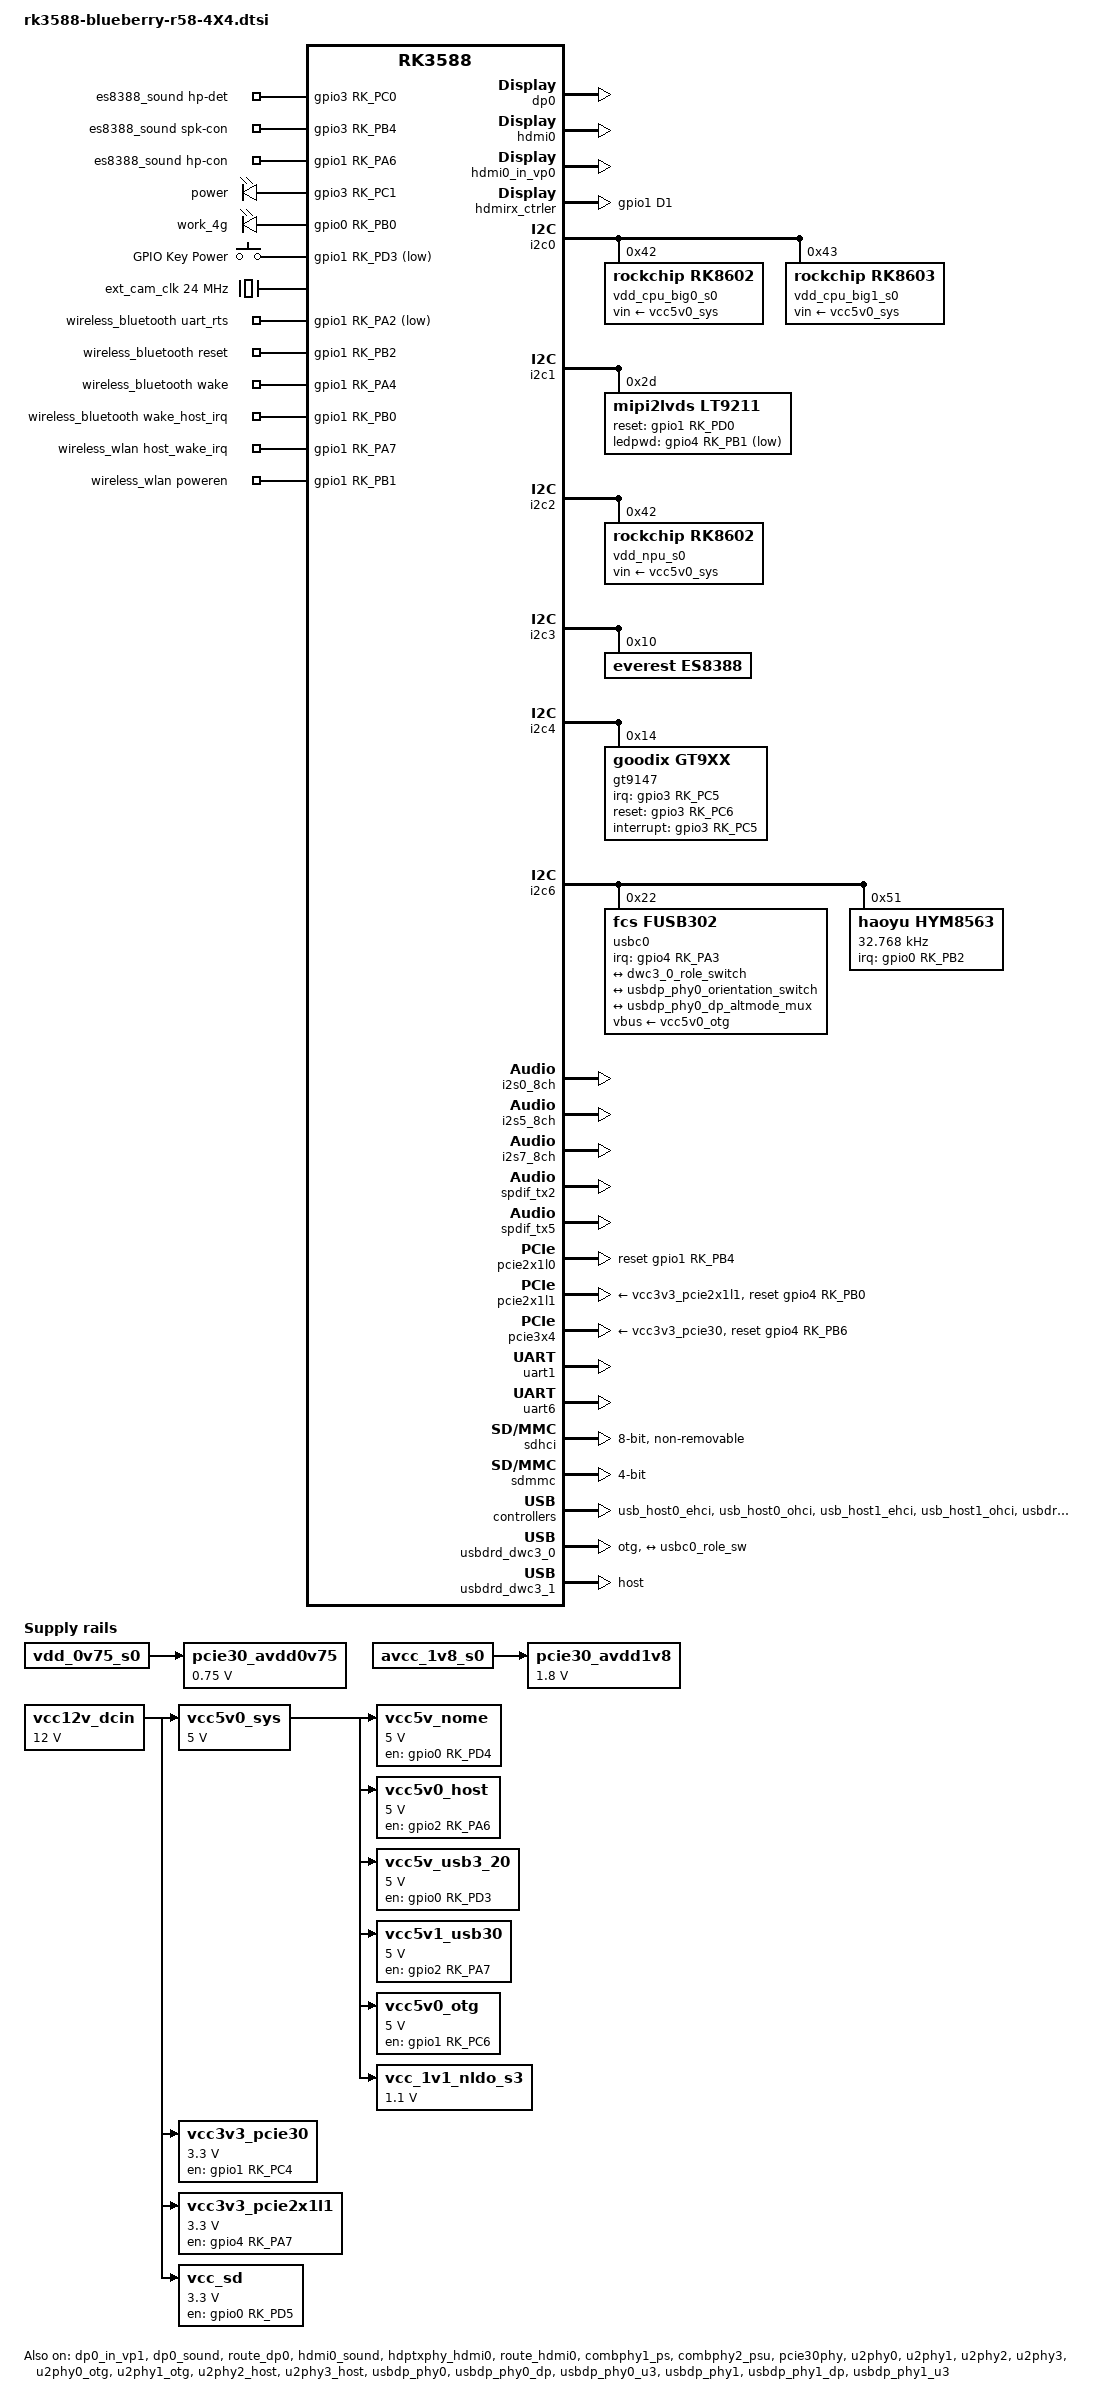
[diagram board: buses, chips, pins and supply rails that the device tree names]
// SPDX-License-Identifier: (GPL-2.0+ OR MIT)
/*
 * Copyright (c) 2021 Rockchip Electronics Co., Ltd.
 *
 */

#include "dt-bindings/usb/pd.h"
#include "rk3588.dtsi"
#include "rk3588-blueberry-r58-4X4-hugsun.dtsi"
#include "rk3588-rk806-single.dtsi"

/ {
	/* If hdmirx node is disabled, delete the reserved-memory node here. */
	reserved-memory {
		#address-cells = <2>;
		#size-cells = <2>;
		ranges;

		/* Reserve 256MB memory for hdmirx-controller@fdee0000 */
		cma {
			compatible = "shared-dma-pool";
			reusable;
			reg = <0x0 (256 * 0x100000) 0x0 (256 * 0x100000)>;
			linux,cma-default;
		};
	};

	hdmiin-sound {
		compatible = "rockchip,hdmi";
		rockchip,mclk-fs = <128>;
		rockchip,format = "i2s";
		rockchip,bitclock-master = <&hdmirx_ctrler>;
		rockchip,frame-master = <&hdmirx_ctrler>;
		rockchip,card-name = "rockchip,hdmiin";
		rockchip,cpu = <&i2s7_8ch>;
		rockchip,codec = <&hdmirx_ctrler 0>;
		rockchip,jack-det;
	};

	es8388_sound: es8388-sound {
		status = "okay";
		compatible = "rockchip,multicodecs-card";
		rockchip,card-name = "rockchip-es8388";
		hp-det-gpio = <&gpio3 RK_PC0 GPIO_ACTIVE_HIGH>;
		spk-con-gpio = <&gpio3 RK_PB4 GPIO_ACTIVE_HIGH>;
		hp-con-gpio = <&gpio1 RK_PA6 GPIO_ACTIVE_HIGH>;
		rockchip,format = "i2s";
		rockchip,mclk-fs = <256>;
		rockchip,cpu = <&i2s0_8ch>;
		rockchip,codec = <&es8388>;
		rockchip,audio-routing =
			"Headphone", "LOUT1",
			"Headphone", "ROUT1",
			"Speaker", "LOUT2",
			"Speaker", "ROUT2",
			"Headphone", "Headphone Power",
			"Headphone", "Headphone Power",
			"Speaker", "Speaker Power",
			"Speaker", "Speaker Power",
			"LINPUT1", "Main Mic",
			"LINPUT2", "Main Mic",
			"RINPUT1", "Headset Mic",
			"RINPUT2", "Headset Mic";
		pinctrl-names = "default";
		pinctrl-0 = <&hp_det>;
	};

	rk_headset: rk-headset {
		status = "disabled";
		compatible = "rockchip_headset";
		headset_gpio = <&gpio1 RK_PA6 GPIO_ACTIVE_HIGH>;
		//pinctrl-names = "default";
		//pinctrl-0 = <&hp_det>;
		io-channels = <&saradc 3>;
	};

	leds: leds {
		compatible = "gpio-leds";

		/*
		lt9211_bl: lt9211-bl {
			gpios = <&gpio2 RK_PB1 GPIO_ACTIVE_HIGH>;
			default-state = "on";
		};
		*/

		power_led: power-led { // rpardini: vendor called it "hdd-led" but it is actually the power-button led
			label = "power";
			gpios = <&gpio3 RK_PC1 GPIO_ACTIVE_HIGH>;
			linux,default-trigger = "heartbeat";
			default-state = "off";
		};

		work_4g: work-4g { // rpardini: not really anywhere
			gpios = <&gpio0 RK_PB0 GPIO_ACTIVE_HIGH>;
			default-state = "on";
		};
	};

	gpio_keys: gpio-keys {
		compatible = "gpio-keys";
		autorepeat;
		pinctrl-names = "default";
		pinctrl-0 = <&pwrbtn>;

		power {
			debounce-interval = <100>;
			gpios = <&gpio1 RK_PD3 GPIO_ACTIVE_LOW>;
			label = "GPIO Key Power";
			linux,code = <KEY_POWER>;
			wakeup-source;
		};
	};

	pcie30_avdd0v75: pcie30-avdd0v75 {
		compatible = "regulator-fixed";
		regulator-name = "pcie30_avdd0v75";
		regulator-boot-on;
		regulator-always-on;
		regulator-min-microvolt = <750000>;
		regulator-max-microvolt = <750000>;
		vin-supply = <&vdd_0v75_s0>;
	};

	pcie30_avdd1v8: pcie30-avdd1v8 {
		compatible = "regulator-fixed";
		regulator-name = "pcie30_avdd1v8";
		regulator-boot-on;
		regulator-always-on;
		regulator-min-microvolt = <1800000>;
		regulator-max-microvolt = <1800000>;
		vin-supply = <&avcc_1v8_s0>;
	};

	vcc12v_dcin: vcc12v-dcin {
		compatible = "regulator-fixed";
		regulator-name = "vcc12v_dcin";
		regulator-always-on;
		regulator-boot-on;
		regulator-min-microvolt = <12000000>;
		regulator-max-microvolt = <12000000>;
	};

	vcc5v0_sys: vcc5v0-sys {
		compatible = "regulator-fixed";
		regulator-name = "vcc5v0_sys";
		regulator-always-on;
		regulator-boot-on;
		regulator-min-microvolt = <5000000>;
		regulator-max-microvolt = <5000000>;
		vin-supply = <&vcc12v_dcin>;
	};

	vcc5v_nome: vcc5v0-nome-regulator {
		compatible = "regulator-fixed";
		regulator-name = "vcc5v0_host";
		regulator-boot-on;
		regulator-always-on;
		regulator-min-microvolt = <5000000>;
		regulator-max-microvolt = <5000000>;
		enable-active-high;
		gpio = <&gpio0 RK_PD4 GPIO_ACTIVE_HIGH>;  //LCD_PWR_EN
		vin-supply = <&vcc5v0_sys>;
		pinctrl-names = "default";
		pinctrl-0 = <&vcc5v0_nome_en>;
	};

	vcc5v0_host: vcc5v0-host-regulator {
		compatible = "regulator-fixed";
		regulator-name = "vcc5v0_host";
		regulator-boot-on;
		regulator-always-on;
		regulator-min-microvolt = <5000000>;
		regulator-max-microvolt = <5000000>;
		enable-active-high;
		gpio = <&gpio2 RK_PA6 GPIO_ACTIVE_HIGH>;  //USB_HOST_PWREN_H_GPIO2_A6
		vin-supply = <&vcc5v0_sys>;
		pinctrl-names = "default";
		pinctrl-0 = <&vcc5v0_host_en>;
	};


	vcc5v_usb3_20: vcc5v0-usb3_20-regulator {
		compatible = "regulator-fixed";
		regulator-name = "vcc5v0_host";
		regulator-boot-on;
		regulator-always-on;
		regulator-min-microvolt = <5000000>;
		regulator-max-microvolt = <5000000>;
		enable-active-high;
		gpio = <&gpio0 RK_PD3 GPIO_ACTIVE_HIGH>;  //USB_POWER_EN
		vin-supply = <&vcc5v0_sys>;
		pinctrl-names = "default";
		pinctrl-0 = <&vcc5v0_usb3_20_en>;
	};

	vcc5v1_usb30: vcc5v1-usb30-regulator {
		compatible = "regulator-fixed";
		regulator-name = "vcc5v0_host";
		regulator-boot-on;
		regulator-always-on;
		regulator-min-microvolt = <5000000>;
		regulator-max-microvolt = <5000000>;
		enable-active-high;
		gpio = <&gpio2 RK_PA7 GPIO_ACTIVE_HIGH>;  //USB_HOST_PWREN_H_GPIO2_A7
		vin-supply = <&vcc5v0_sys>;
		pinctrl-names = "default";
		pinctrl-0 = <&vcc5v1_usb30_en>;
	};

	vcc5v0_otg: vcc5v0-otg-regulator {
		compatible = "regulator-fixed";
		regulator-name = "vcc5v0_otg";
		regulator-min-microvolt = <5000000>;
		regulator-max-microvolt = <5000000>;
		enable-active-high;
		gpio = <&gpio1 RK_PC6 GPIO_ACTIVE_HIGH>;
		vin-supply = <&vcc5v0_sys>;
		pinctrl-names = "default";
		pinctrl-0 = <&vcc5v0_otg_en>;
	};

	vcc3v3_pcie30: vcc3v3-pcie30 {
		compatible = "regulator-fixed";
		regulator-name = "vcc3v3_pcie30";
		regulator-min-microvolt = <3300000>;
		regulator-max-microvolt = <3300000>;
		enable-active-high;
		pinctrl-names = "default";
		pinctrl-0 = <&vcc3v3_pcie30_en>;
		gpios = <&gpio1 RK_PC4 GPIO_ACTIVE_HIGH>;    //PCIE30x4_PWREN_H
		startup-delay-us = <10000>;
		vin-supply = <&vcc12v_dcin>;
	};

	vcc3v3_pcie2x1l1: vcc3v3-pcie2x1l1{
		compatible = "regulator-fixed";
		regulator-name = "vcc3v3_pcie2x1l1";
		regulator-min-microvolt = <3300000>;
		regulator-max-microvolt = <3300000>;
		enable-active-high;
		gpios = <&gpio4 RK_PA7 GPIO_ACTIVE_HIGH>;
		startup-delay-us = <10000>;
		vin-supply = <&vcc12v_dcin>;
	};

	vcc_sd: sd-regulator {
		compatible = "regulator-fixed";
		gpio = <&gpio0 RK_PD5 GPIO_ACTIVE_HIGH>;
		pinctrl-names = "default";
		pinctrl-0 = <&sdmmc_pwr>;
		regulator-always-on;
		regulator-boot-on;
		enable-active-high;
		regulator-name = "vcc_sd";
		regulator-min-microvolt = <3300000>;
		regulator-max-microvolt = <3300000>;
		startup-delay-us = <100000>;
		vin-supply = <&vcc12v_dcin>;
	};

	vcc_1v1_nldo_s3: vcc-1v1-nldo-s3 {
		compatible = "regulator-fixed";
		regulator-name = "vcc_1v1_nldo_s3";
		regulator-always-on;
		regulator-boot-on;
		regulator-min-microvolt = <1100000>;
		regulator-max-microvolt = <1100000>;
		vin-supply = <&vcc5v0_sys>;
	};

	ext_cam_clk: external-camera-clock {
		compatible = "fixed-clock";
		clock-frequency = <24000000>;
		clock-output-names = "CLK_CAMERA_24MHZ";
		#clock-cells = <0>;
	};

	wireless_bluetooth: wireless-bluetooth {
		compatible = "bluetooth-platdata";
		clocks = <&hym8563>;
		clock-names = "ext_clock";
		uart_rts_gpios = <&gpio1 RK_PA2 GPIO_ACTIVE_LOW>;
		pinctrl-names = "default", "rts_gpio";
		pinctrl-0 = <&uart6m1_rtsn>, <&bt_gpio>;
		pinctrl-1 = <&uart6_gpios>;
		BT,reset_gpio    = <&gpio1 RK_PB2 GPIO_ACTIVE_HIGH>;
		BT,wake_gpio     = <&gpio1 RK_PA4 GPIO_ACTIVE_HIGH>;
		BT,wake_host_irq = <&gpio1 RK_PB0 GPIO_ACTIVE_HIGH>;
		status = "okay";
	};

	wireless_wlan: wireless-wlan {
		compatible = "wlan-platdata";
		wifi_chip_type = "ap6275p";
		pinctrl-names = "default";
		pinctrl-0 = <&wifi_host_wake_irq>, <&wifi_poweren_gpio>;
		WIFI,host_wake_irq = <&gpio1 RK_PA7 GPIO_ACTIVE_HIGH>;
		WIFI,poweren_gpio = <&gpio1 RK_PB1 GPIO_ACTIVE_HIGH>;
		status = "okay";
	};
};


&dp0 {
	status = "okay";
};

&dp0_in_vp1 {
	status = "okay";
};

&dp0_sound{
	status = "okay";
};

&route_dp0 {
	status = "okay";
	connect = <&vp1_out_dp0>;
};

&hdmi0 {
	enable-gpios = <&gpio3 RK_PB1 GPIO_ACTIVE_HIGH>;
	cec-enable = "true";
	status = "okay";
};

&hdmi0_in_vp0 {
	status = "okay";
};

&hdmi0_sound {
	status = "okay";
};

&hdptxphy_hdmi0 {
	status = "okay";
};

&route_hdmi0 {
	status = "okay";
	logo,uboot = "logo.bmp";
	logo,kernel = "logo_kernel.bmp";

	connect = <&vp0_out_hdmi0>;
};

// hdmi rx start
/* Should work with at least 128MB cma reserved above. */
&hdmirx_ctrler {
	status = "okay";
	#sound-dai-cells = <1>;
	/* Effective level used to trigger HPD: 0-low, 1-high */
	hpd-trigger-level = <1>;
	hdmirx-det-gpios = <&gpio1 RK_PD1 GPIO_ACTIVE_LOW>;
	pinctrl-names = "default";
	pinctrl-0 = <&hdmim2_rx_cec
				 &hdmim2_rx_hpdin
				 &hdmim2_rx_sda
				 &hdmim2_rx_scl
				 &hdmirx_det>;
};

&i2c0 {
	status = "okay";
	pinctrl-names = "default";
	pinctrl-0 = <&i2c0m2_xfer>;

	vdd_cpu_big0_s0: vdd_cpu_big0_mem_s0: rk8602@42 {
		compatible = "rockchip,rk8602";
		reg = <0x42>;
		vin-supply = <&vcc5v0_sys>;
		regulator-compatible = "rk860x-reg";
		regulator-name = "vdd_cpu_big0_s0";
		regulator-min-microvolt = <550000>;
		regulator-max-microvolt = <1050000>;
		regulator-ramp-delay = <2300>;
		rockchip,suspend-voltage-selector = <1>;
		regulator-boot-on;
		regulator-always-on;
		regulator-state-mem {
			regulator-off-in-suspend;
		};
	};

	vdd_cpu_big1_s0: vdd_cpu_big1_mem_s0: rk8603@43 {
		compatible = "rockchip,rk8603";
		reg = <0x43>;
		vin-supply = <&vcc5v0_sys>;
		regulator-compatible = "rk860x-reg";
		regulator-name = "vdd_cpu_big1_s0";
		regulator-min-microvolt = <550000>;
		regulator-max-microvolt = <1050000>;
		regulator-ramp-delay = <2300>;
		rockchip,suspend-voltage-selector = <1>;
		regulator-boot-on;
		regulator-always-on;
		regulator-state-mem {
			regulator-off-in-suspend;
		};
	};
};

&i2c1 {
	pinctrl-names = "default";
	pinctrl-0 = <&i2c1m4_xfer>;
	status = "okay";
	lt9211: lt9211@2d {  //5A
		compatible = "mipi2lvds,lt9211";
		reg = <0x2d>;
		reset_gpio = <&gpio1 RK_PD0 GPIO_ACTIVE_HIGH>;
		ledpwd-gpios = <&gpio4 RK_PB1 GPIO_ACTIVE_LOW>;   //control lvds backlight
		pinctrl-names = "default";
		pinctrl-0 = <&lt9211_gpio>;
		status = "okay";
	};
};

&i2c2 {
	pinctrl-names = "default";
	pinctrl-0 = <&i2c2m0_xfer>;
	status = "okay";

	vdd_npu_s0: vdd_npu_mem_s0: rk8602@42 {
		compatible = "rockchip,rk8602";
		reg = <0x42>;
		vin-supply = <&vcc5v0_sys>;
		regulator-compatible = "rk860x-reg";
		regulator-name = "vdd_npu_s0";
		regulator-min-microvolt = <550000>;
		regulator-max-microvolt = <950000>;
		regulator-ramp-delay = <2300>;
		rockchip,suspend-voltage-selector = <1>;
		regulator-boot-on;
		regulator-always-on;
		regulator-state-mem {
			regulator-off-in-suspend;
		};
	};
};

&i2c3 {
	pinctrl-names = "default";
	pinctrl-0 = <&i2c3m0_xfer>;
	status = "okay";

	es8388: es8388@10 {
		status = "okay";
		#sound-dai-cells = <0>;
		compatible = "everest,es8388", "everest,es8323";
		reg = <0x10>;
		clocks = <&mclkout_i2s0>;
		clock-names = "mclk";
		assigned-clocks = <&mclkout_i2s0>;
		assigned-clock-rates = <12288000>;
		pinctrl-names = "default";
		pinctrl-0 = <&i2s0_mclk>;
	};
};

&i2c4 {
	pinctrl-names = "default";
	pinctrl-0 = <&i2c4m0_xfer>;
	status = "okay";
	gt9147:gt9147@14 {
		compatible = "goodix,gt9xx";
		reg = <0x14>;
		//pinctrl-names = "default";
		//pinctrl-0 = <&tp_gpio>;
		interrupt-parent = <&gpio3>;
		irq-gpios = <&gpio3 RK_PC5 IRQ_TYPE_EDGE_BOTH>; // FALLING RISING
		reset-gpios = <&gpio3 RK_PC6 GPIO_ACTIVE_HIGH>;
		interrupt-gpios = <&gpio3 RK_PC5 IRQ_TYPE_LEVEL_HIGH>;
		goodix,driver-send-cfg = <1>;
		goodix,cfg-group0 = [
		42 20 03 00 05 0A C5 00 01 08
		28 05 50 32 03 05 00 00 00 00
		00 00 00 00 00 00 00 8B 2B 0E
		20 1E 2B 09 00 00 02 9B 02 2C
		00 00 00 00 00 03 64 32 00 00
		00 14 32 94 D5 02 07 00 00 04
		AB 16 00 92 1A 00 7C 1F 00 66
		26 00 58 2D 00 58 00 00 00 00
		00 00 00 00 00 00 00 00 00 00
		00 00 00 00 00 00 00 00 00 00
		00 00 00 00 00 00 00 00 00 00
		00 00 02 04 06 08 0A 0C 0E 10
		12 14 16 18 1A 1C 00 00 00 00
		00 00 00 00 00 00 00 00 00 00
		00 00 00 02 04 06 08 0A 0C 0F
		10 12 13 16 18 1C 1D 1E 1F 20
		21 22 24 26 FF FF FF FF 00 00
		00 00 00 00 00 00 00 00 00 00
		00 00 00 00 B3 01];
		touchscreen-max-id = <11>;
		touchscreen-size-x = <800>;
		touchscreen-size-y = <1280>;
		touchscreen-max-w = <512>;
		touchscreen-max-p = <512>;
		goodix,int-sync = <1>;
		status = "okay";
	};

};

&i2c6 {
	status = "okay";
	usbc0: fusb302@22 {
		compatible = "fcs,fusb302";
		reg = <0x22>;
		interrupt-parent = <&gpio4>;
		interrupts = <RK_PA3 IRQ_TYPE_LEVEL_LOW>;
		pinctrl-names = "default";
		pinctrl-0 = <&usbc0_int>;
		vbus-supply = <&vcc5v0_otg>;
		status = "okay";

		ports {
			#address-cells = <1>;
			#size-cells = <0>;

			port@0 {
				reg = <0>;
				usbc0_role_sw: endpoint@0 {
					remote-endpoint = <&dwc3_0_role_switch>;
				};
			};
		};

		usb_con: connector {
			compatible = "usb-c-connector";
			label = "USB-C";
			data-role = "dual";
			power-role = "dual";
			try-power-role = "sink";
			op-sink-microwatt = <1000000>;
			sink-pdos =
				<PDO_FIXED(5000, 1000, PDO_FIXED_USB_COMM)>;
			source-pdos =
				<PDO_FIXED(5000, 3000, PDO_FIXED_USB_COMM)>;

			altmodes {
				#address-cells = <1>;
				#size-cells = <0>;

				altmode@0 {
					reg = <0>;
					svid = <0xff01>;
					vdo = <0xffffffff>;
				};
			};

			ports {
				#address-cells = <1>;
				#size-cells = <0>;

				port@0 {
					reg = <0>;
					usbc0_orien_sw: endpoint {
						remote-endpoint = <&usbdp_phy0_orientation_switch>;
					};
				};

				port@1 {
					reg = <1>;
					dp_altmode_mux: endpoint {
						remote-endpoint = <&usbdp_phy0_dp_altmode_mux>;
					};
				};
			};
		};
	};

	hym8563: hym8563@51 {
		compatible = "haoyu,hym8563";
		reg = <0x51>;
		#clock-cells = <0>;
		clock-frequency = <32768>;
		clock-output-names = "hym8563";
		pinctrl-names = "default";
		pinctrl-0 = <&hym8563_int>;
		interrupt-parent = <&gpio0>;
		interrupts = <RK_PB2 IRQ_TYPE_LEVEL_LOW>; //RTCIC_INT_L_GPIO0_B2
		wakeup-source;
	};
};

&i2s0_8ch {
	status = "okay";
	pinctrl-0 = <&i2s0_lrck
		     &i2s0_sclk
		     &i2s0_sdi0
		     &i2s0_sdo0>;
};

//hdmi01 sound
&i2s5_8ch {
	status = "okay";
};

//hdmi02 sound
&i2s6_8ch {
	status = "disabled";
};

//hdmiin sound
&i2s7_8ch {
	status = "okay";
};

&spdif_tx2 {
	status = "okay";
};

&spdif_tx5 {
	status = "okay";
};

//wifi
&pcie2x1l0 {
	reset-gpios = <&gpio1 RK_PB4 GPIO_ACTIVE_HIGH>;
	rockchip,skip-scan-in-resume;
	status = "okay";
};

&combphy1_ps {
	status = "okay";
};

/*for RTL8125B(S)_BG(S)_BI*/
&pcie2x1l1 {
	reset-gpios = <&gpio4 RK_PB0 GPIO_ACTIVE_HIGH>;
	pinctrl-names = "default";
	vpcie3v3-supply = <&vcc3v3_pcie2x1l1>;
	pinctrl-0 = <&pcie30x2m1_pins>;
	status = "okay";
};

&pcie30x2m1_pins{
	rockchip,pins =
		/* pcie30x2_clkreqn_m1 */
		<4 RK_PA6 4 &pcfg_pull_none>,
		/* pcie30x2_perstn_m1 */
		//<4 RK_PB0 4 &pcfg_pull_none>,
		/* pcie30x2_waken_m1 */
		<4 RK_PA7 4 &pcfg_pull_none>;
};

&combphy2_psu {
	status = "okay";
};

/*
//4G
&pcie2x1l2 {
	reset-gpios = <&gpio0 RK_PC5 GPIO_ACTIVE_HIGH>;
	rockchip,skip-scan-in-resume;
	status = "okay";
};

&combphy0_ps {
	status = "okay";
};
*/

&pcie30phy {
	rockchip,pcie30-phymode = <PHY_MODE_PCIE_AGGREGATION>;
	status = "okay";
};


//m.2
&pcie3x4 {
	reset-gpios = <&gpio4 RK_PB6 GPIO_ACTIVE_HIGH>;
	vpcie3v3-supply = <&vcc3v3_pcie30>;
	status = "okay";
};


&rk806single {
	pinctrl-names = "default", "pmic-power-off";
	pinctrl-0 = <&pmic_pins>, <&rk806_dvs1_null>, <&rk806_dvs2_null>, <&rk806_dvs3_null>;
	pinctrl-1 = <&rk806_dvs1_slp>, <&rk806_dvs2_null>, <&rk806_dvs3_null>;

	regulators {
		avcc_1v8_s0: PLDO_REG1 {
			regulator-always-on;
			regulator-boot-on;
			regulator-min-microvolt = <1800000>;
			regulator-max-microvolt = <1800000>;
			regulator-name = "avcc_1v8_s0";
			regulator-state-mem {
				regulator-on-in-suspend;
				regulator-suspend-microvolt = <1800000>;
			};
		};
	};
};

&vdd_log_s0 {  //fox.luo@2022.05.26 don't wake up
		regulator-state-mem {
			regulator-on-in-suspend;
			regulator-suspend-microvolt = <750000>;
		};
};

&rockchip_suspend {
	status = "okay";
	rockchip,sleep-debug-en = <1>;
	rockchip,virtual-poweroff = <1>;
	rockchip,sleep-mode-config = <
		(0
		| RKPM_SLP_ARMOFF_DDRPD
		)
	>;
	rockchip,wakeup-config = <
		(0
		| RKPM_CPU0_WKUP_EN
		| RKPM_GPIO_WKUP_EN
		)
	>;
};

&sata0 {
	status = "disabled"; // rpardini: no SATA port anywhere and no mux, disable to avoid deferred probe
};

&uart1 {
	status = "okay";
	pinctrl-names = "default";
	pinctrl-0 = <&uart1m0_xfer>;
};

&uart6 { // bluetooth
	status = "okay";
	pinctrl-names = "default";
	pinctrl-0 = <&uart6m1_xfer &uart6m1_ctsn>;
};

&sdhci {
	bus-width = <8>;
	no-sdio;
	no-sd;
	non-removable;
	max-frequency = <200000000>;
	mmc-hs400-1_8v;
	mmc-hs400-enhanced-strobe;
	status = "okay";
};

&sdmmc {
	max-frequency = <150000000>;
	no-sdio;
	no-mmc;
	bus-width = <4>;
	cap-mmc-highspeed;
	cap-sd-highspeed;
	disable-wp;
	sd-uhs-sdr104;
	vqmmc-supply = <&vccio_sd_s0>;
	status = "okay";
};

//type-c0
&u2phy0 {
	status = "okay";
};

&u2phy1 {
	status = "okay";
};

//usb2.0 host0
&u2phy2 {
	status = "okay";
};

//usb2.0 host1
&u2phy3 {
	status = "okay";
};

&u2phy0_otg {
	rockchip,typec-vbus-det;
	status = "okay";
};

&u2phy1_otg {
	phy-supply = <&vcc5v0_host>;
	status = "okay";
};

&u2phy2_host {
	phy-supply = <&vcc5v0_host>;
	status = "okay";
};

&u2phy3_host {
	phy-supply = <&vcc5v0_host>;
	status = "okay";
};

&usb_host0_ehci {
	status = "okay";
};

&usb_host0_ohci {
	status = "okay";
};

&usb_host1_ehci {
	status = "okay";
};

&usb_host1_ohci {
	status = "okay";
};

&usbdp_phy0 {
	orientation-switch;
	svid = <0xff01>;
	sbu1-dc-gpios = <&gpio2 RK_PB4 GPIO_ACTIVE_HIGH>;
	sbu2-dc-gpios = <&gpio2 RK_PB5 GPIO_ACTIVE_HIGH>;
	status = "okay";

	port {
		#address-cells = <1>;
		#size-cells = <0>;
		usbdp_phy0_orientation_switch: endpoint@0 {
			reg = <0>;
			remote-endpoint = <&usbc0_orien_sw>;
		};

		usbdp_phy0_dp_altmode_mux: endpoint@1 {
			reg = <1>;
			remote-endpoint = <&dp_altmode_mux>;
		};
	};
};

&usbdp_phy0_dp {
	status = "okay";
};

&usbdp_phy0_u3 {
	status = "okay";
};

&usbdp_phy1 {
	rockchip,dp-lane-mux = < 0 1 2 3 >;
	status = "okay";
};

&usbdp_phy1_dp {
	status = "okay";
};

&usbdp_phy1_u3 {
	maximum-speed = "high-speed";
	status = "okay";
};

&usbdrd3_0 {
	status = "okay";
};

&usbdrd3_1 {
	status = "okay";
};

&usbdrd_dwc3_0 {
	dr_mode = "otg";
	usb-role-switch;
	status = "okay";
	port {
		#address-cells = <1>;
		#size-cells = <0>;
		dwc3_0_role_switch: endpoint@0 {
			reg = <0>;
			remote-endpoint = <&usbc0_role_sw>;
		};
	};
};

&usbdrd_dwc3_1 {
	dr_mode = "host";
	maximum-speed = "high-speed";
	status = "okay";
};

&usbhost3_0 {
	status = "disabled";
};

&usbhost_dwc3_0 {
	status = "disabled";
};

&vdd_vdenc_s0 {
	regulator-init-microvolt = <750000>;
};


&pinctrl {

	hdmirx {
		hdmirx_det: hdmirx_det {
			rockchip,pins = <1 RK_PD1 RK_FUNC_GPIO &pcfg_pull_up>;
		};
	};

	wireless-bluetooth {
		uart6_gpios: uart6-gpios {
			rockchip,pins = <1 RK_PA2 RK_FUNC_GPIO &pcfg_pull_none>;
		};

		bt_gpio: bt-gpio {
			rockchip,pins =
				<1 RK_PB2 RK_FUNC_GPIO &pcfg_pull_none>,
				<1 RK_PB0 RK_FUNC_GPIO &pcfg_pull_up>,
				<1 RK_PA4 RK_FUNC_GPIO &pcfg_pull_down>;
		};
	};

	wireless-wlan {
		wifi_host_wake_irq: wifi-host-wake-irq {
			rockchip,pins = <1 RK_PA7 RK_FUNC_GPIO &pcfg_pull_down>;
		};

		wifi_poweren_gpio: wifi-poweren-gpio {
			rockchip,pins = <1 RK_PB1 RK_FUNC_GPIO &pcfg_pull_up>;
		};
	};

	buttons {
		pwrbtn: pwrbtn {
			rockchip,pins = <1 RK_PD3 RK_FUNC_GPIO &pcfg_pull_up>;
		};
	};

	hym8563 {
		hym8563_int: hym8563-int {
			rockchip,pins = <0 RK_PB2 RK_FUNC_GPIO &pcfg_pull_up>;
		};
	};

	RTL8125B {
		RTL8125B_isolate: RTL8125B-isolate {
			rockchip,pins = <3 RK_PB7 RK_FUNC_GPIO &pcfg_pull_up>;
		};
	};

	pcie {
		vcc3v3_pcie30_en: vcc3v3-pcie30-en {
			rockchip,pins = <1 RK_PC4 RK_FUNC_GPIO &pcfg_pull_up>;
		};

	};

	sdmmc-pwr {
		sdmmc_pwr: sdmmc-pwr {
			rockchip,pins = <2 RK_PC6 RK_FUNC_GPIO &pcfg_pull_none>;
		};
	};

	usb {
		vcc5v0_host_en: vcc5v0-host-en {
			rockchip,pins = <2 RK_PA6 RK_FUNC_GPIO &pcfg_pull_none>;
		};
		vcc5v0_nome_en: vcc5v0-nome-en {
			rockchip,pins = <0 RK_PD4 RK_FUNC_GPIO &pcfg_pull_none>;
		};
		vcc5v0_usb3_20_en: vcc5v0-usb3_20-en {
			rockchip,pins = <0 RK_PD3 RK_FUNC_GPIO &pcfg_pull_none>;
		};
		vcc5v1_usb30_en: vcc5v1-usb30-en {
			rockchip,pins = <2 RK_PA7 RK_FUNC_GPIO &pcfg_pull_none>;
		};
	};

	usb-typec {
		usbc0_int: usbc0-int {
			rockchip,pins = <4 RK_PA3 RK_FUNC_GPIO &pcfg_pull_up>;
		};

		vcc5v0_otg_en: vcc5v0-otg-en {
			rockchip,pins = <1 RK_PC6 RK_FUNC_GPIO &pcfg_pull_none>;
		};
	};

	lt9211 {
		lt9211_gpio: lt9211-gpio{
			rockchip,pins =
				<1 RK_PD0 RK_FUNC_GPIO &pcfg_pull_up>,
				<4 RK_PB1 RK_FUNC_GPIO &pcfg_pull_none>;
			};
	};

	headphone {
		hp_det: hp-det {
			rockchip,pins = <3 RK_PC0 RK_FUNC_GPIO &pcfg_pull_none>;
		};
	};
};
